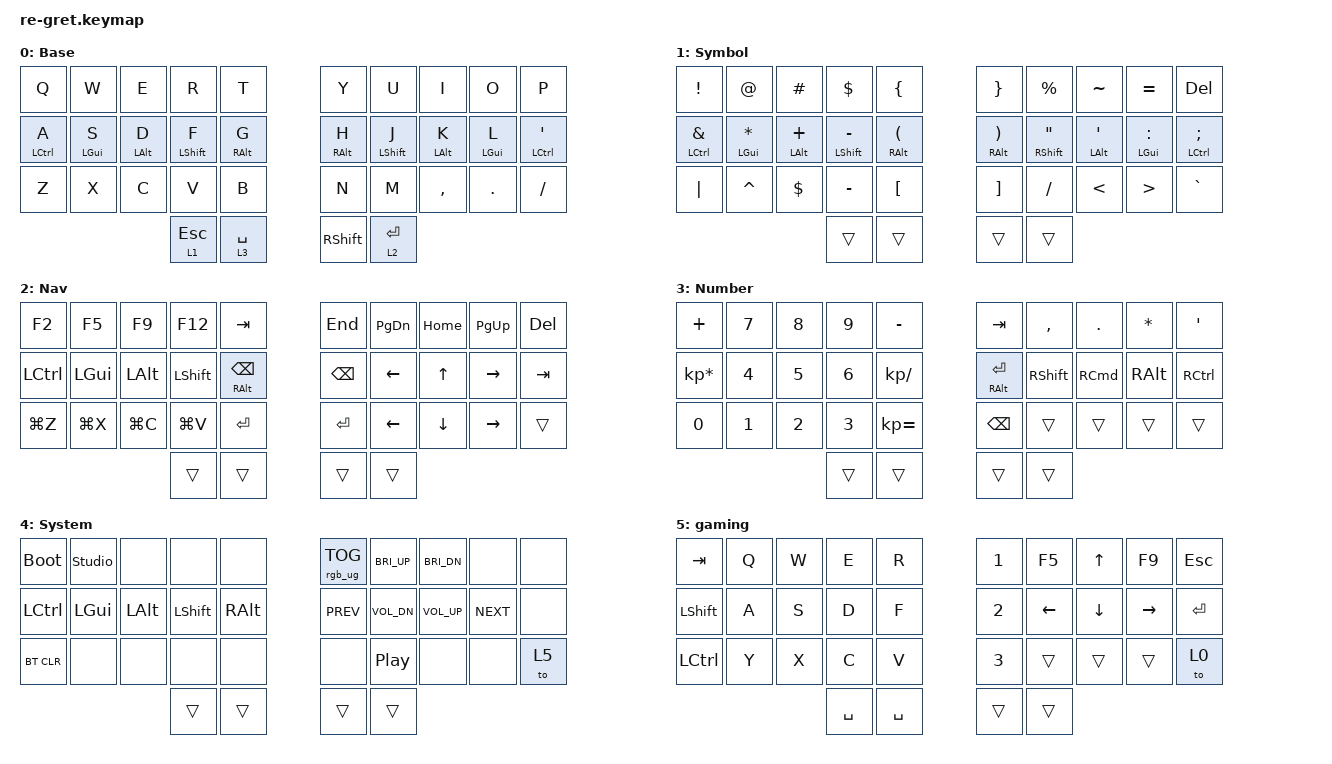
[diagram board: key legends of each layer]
#include <behaviors.dtsi>
#include <dt-bindings/zmk/keys.h>
#include <dt-bindings/zmk/rgb.h>
#include <dt-bindings/zmk/bt.h>

#define SYM_L 1
#define NAV_L 2
#define NUM_L 3
#define SYS_L 4

/ {
    conditional_layers {
        compatible = "zmk,conditional-layers";
        cond_1_2_4 {
            if-layers = <1 2>;
            then-layer = <4>;
        };
    };

    behaviors {
        hm: homerow_mods {
            compatible = "zmk,behavior-hold-tap";
            #binding-cells = <2>;
            tapping-term-ms = <250>;
            flavor = "tap-preferred";
            bindings = <&kp>, <&kp>;
        };
    };
 
    #define COMBO_IDLE 175
    combos {
        compatible = "zmk,combos";

        // Activate system layer on inner thumbs

        bsp  { key-positions = <26 27>; bindings = <&kp BSPC>; require-prior-idle-ms = <COMBO_IDLE>;};
        semi { key-positions = <27 28>; bindings = <&kp SEMI>; require-prior-idle-ms = <COMBO_IDLE>;};

        // Brackets and parens
        vlbkt { key-positions = <1 11>; bindings = <&kp LBKT>; require-prior-idle-ms = <COMBO_IDLE>; };
        vlpar { key-positions = <2 12>; bindings = <&kp LPAR>; require-prior-idle-ms = <COMBO_IDLE>; };
        vlbrc { key-positions = <3 13>; bindings = <&kp LBRC>; require-prior-idle-ms = <COMBO_IDLE>; };
        vrbrc { key-positions = <6 16>; bindings = <&kp RBRC>; require-prior-idle-ms = <COMBO_IDLE>; };
        vrpar { key-positions = <7 17>; bindings = <&kp RPAR>; require-prior-idle-ms = <COMBO_IDLE>; };
        vrbkt { key-positions = <8 18>; bindings = <&kp RBKT>; require-prior-idle-ms = <COMBO_IDLE>; };

        comboEsc {
            timeout-ms = <50>;
            key-positions = <1 2 3>;
            bindings = <&kp ESC>;
        };
        comboenter {
            timeout-ms = <50>;
            key-positions = <6 7 8>;
            bindings = <&kp ENTER>;
        };
    };

    keymap {
        compatible = "zmk,keymap";

        default_layer {
            display-name = "Base";
            bindings = <
                &kp Q      &kp W      &kp E       &kp R          &kp T         &kp Y            &kp U          &kp I       &kp O      &kp P
                &hm LCTRL A      &hm LGUI S      &hm LALT D       &hm LSHFT F          &hm RALT G         &hm RALT H            &hm LSHFT J          &hm LALT K       &hm LGUI L      &hm LCTRL SQT
                &kp Z      &kp X      &kp C       &kp V          &kp B         &kp N            &kp M          &kp COMMA   &kp DOT    &kp FSLH
                                                  &lt 1 ESC      &lt 3 SPACE     &kp RSHIFT       &lt 2 ENTER
            >;
        };

        sym_layer {
            display-name = "Symbol";
            bindings = <
                &kp EXCL   &kp AT   &kp HASH   &kp DLLR          &kp LBRC      &kp RBRC       &kp PRCNT         &kp TILDE    &kp EQUAL     &kp DEL
                &hm LCTRL AMPS  &hm LGUI STAR   &hm LALT PLUS   &hm LSHFT MINUS       &hm RALT LPAR      &hm RALT RPAR        &hm RSHFT DQT      &hm LALT SQT    &hm LGUI COLON   &hm LCTRL SEMI
                &kp PIPE   &kp CARET  &kp DLLR    &kp MINUS       &kp LBKT        &kp RBKT          &kp FSLH       &kp LT      &kp GT     &kp GRAVE
                                                  &trans          &trans        &trans          &trans
            >;
        };

        nav_layer {
            display-name = "Nav";
            bindings = <
                &kp F2      &kp F5      &kp F9     &kp F12         &kp TAB       &kp END          &kp PG_DN         &kp HOME      &kp PG_UP     &kp DEL
                &kp LCTRL   &kp LGUI    &kp LALT   &kp LSHFT      &mt RALT BSPC      &kp BSPC        &kp LEFT       &kp UP      &kp RIGHT  &kp TAB
                &kp LG(Z)   &kp LG(X)   &kp LG(C)  &kp LG(V)      &kp RET       &kp RET         &kp LEFT       &kp DOWN     &kp RIGHT     &trans
                                                   &trans         &trans        &trans          &trans
            >;
        };

        num_layer {
            display-name = "Number";
            bindings = <
                &kp PLUS      &kp N7     &kp N8    &kp N9        &kp MINUS      &kp TAB &kp COMMA        &kp DOT     &kp STAR       &kp SQT
                &kp KP_MULTIPLY  &kp N4  &kp N5  &kp N6  &kp KP_DIVIDE        &mt RALT ENTER    &kp RSHFT  &kp RCMD  &kp RALT  &kp RCTRL
                &kp N0      &kp N1       &kp N2     &kp N3     &kp KP_EQUAL        &kp BSPC    &trans      &trans    &trans   &trans
                                                        &trans        &trans        &trans    &trans
            >;
        };

        system_layer {
            display-name = "System";
            bindings = <
                &bootloader &studio_unlock &none   &none          &none         &rgb_ug RGB_TOG &kp C_BRI_UP          &kp C_BRI_DN        &none      &none
                &kp LCTRL   &kp LGUI    &kp LALT   &kp LSHFT      &kp RALT         &kp C_PREV      &kp C_VOL_DN   &kp C_VOL_UP &kp C_NEXT &none
                &bt BT_CLR  &none       &none      &none          &none         &none           &kp C_PP       &none        &none      &to 5
                                                   &trans         &trans        &trans          &trans
            >;
        };
        gaming {
            bindings = <
                &kp TAB &kp Q &kp W &kp E &kp R &kp N1 &kp F5 &kp UP &kp F9 &kp ESC
                &kp LSHFT &kp A &kp S &kp D &kp F &kp N2 &kp LEFT &kp DOWN &kp RIGHT &kp ENTER
                &kp LCTRL &kp Y &kp X &kp C &kp V &kp N3 &trans &trans &trans &to 0
                &kp SPACE &kp SPACE &trans &trans
            >;
        };
    };
};
